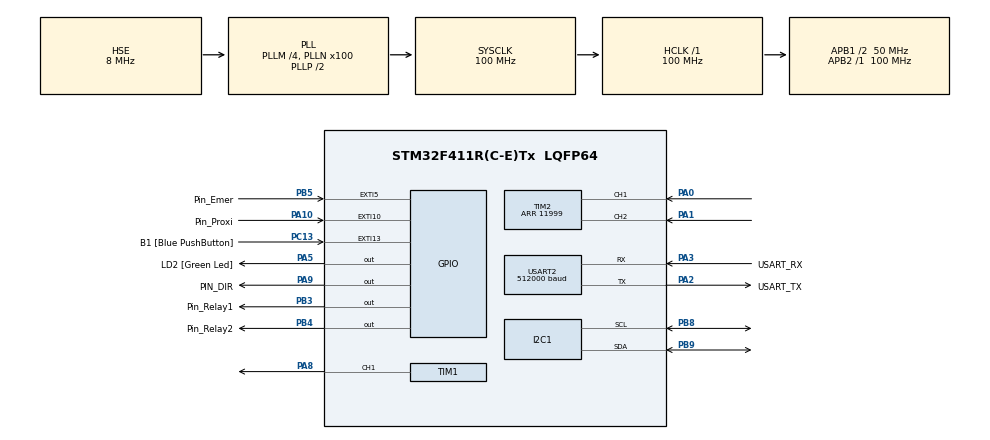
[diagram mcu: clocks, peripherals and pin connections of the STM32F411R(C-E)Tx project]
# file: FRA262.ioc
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ARM.CMSIS.5.6.0.CMSISJjCORE=true
ARM.CMSIS.5.6.0.CMSISJjDSP=Library
Dma.Request0=USART2_RX
Dma.Request1=USART2_TX
Dma.USART2_RX.0.Direction=DMA_PERIPH_TO_MEMORY
Dma.USART2_RX.0.FIFOMode=DMA_FIFOMODE_DISABLE
Dma.USART2_RX.0.Instance=DMA1_Stream5
Dma.USART2_RX.0.MemDataAlignment=DMA_MDATAALIGN_BYTE
Dma.USART2_RX.0.MemInc=DMA_MINC_ENABLE
Dma.USART2_RX.0.Mode=DMA_NORMAL
Dma.USART2_RX.0.PeriphDataAlignment=DMA_PDATAALIGN_BYTE
Dma.USART2_RX.0.PeriphInc=DMA_PINC_DISABLE
Dma.USART2_RX.0.Priority=DMA_PRIORITY_LOW
Dma.USART2_TX.1.Direction=DMA_MEMORY_TO_PERIPH
Dma.USART2_TX.1.FIFOMode=DMA_FIFOMODE_DISABLE
Dma.USART2_TX.1.Instance=DMA1_Stream6
Dma.USART2_TX.1.MemDataAlignment=DMA_MDATAALIGN_BYTE
Dma.USART2_TX.1.MemInc=DMA_MINC_ENABLE
Dma.USART2_TX.1.Mode=DMA_NORMAL
Dma.USART2_TX.1.PeriphDataAlignment=DMA_PDATAALIGN_BYTE
Dma.USART2_TX.1.PeriphInc=DMA_PINC_DISABLE
Dma.USART2_TX.1.Priority=DMA_PRIORITY_LOW
I2C1.I2C_Mode=I2C_Fast
Mcu.Family=STM32F4
Mcu.Name=STM32F411R(C-E)Tx
Mcu.Package=LQFP64
NVIC.DMA1_Stream5_IRQn=true\:0\:0\:false\:false\:true\:false\:true\:true
NVIC.DMA1_Stream6_IRQn=true\:0\:0\:false\:false\:true\:false\:true\:true
NVIC.EXTI15_10_IRQn=true\:0\:0\:false\:false\:true\:true\:true\:true
NVIC.EXTI9_5_IRQn=true\:0\:0\:false\:false\:true\:true\:true\:true
NVIC.I2C1_ER_IRQn=true\:0\:0\:false\:false\:true\:true\:true\:true
NVIC.I2C1_EV_IRQn=true\:0\:0\:false\:false\:true\:true\:true\:true
NVIC.PriorityGroup=NVIC_PRIORITYGROUP_0
NVIC.TIM1_TRG_COM_TIM11_IRQn=true\:0\:0\:false\:false\:true\:true\:true\:true
NVIC.TIM3_IRQn=true\:0\:0\:false\:false\:true\:true\:true\:true
NVIC.TIM4_IRQn=true\:0\:0\:false\:false\:true\:true\:true\:true
NVIC.USART2_IRQn=true\:0\:0\:false\:false\:true\:true\:true\:true
PA0-WKUP.Signal=S_TIM2_CH1_ETR
PA1.Signal=S_TIM2_CH2
PA10.GPIO_Label=Pin_Proxi
PA10.GPIO_ModeDefaultEXTI=GPIO_MODE_IT_RISING_FALLING
PA10.Signal=GPXTI10
PA13.GPIO_Label=TMS
PA13.Mode=Serial_Wire
PA13.Signal=SYS_JTMS-SWDIO
PA14.GPIO_Label=TCK
PA14.Mode=Serial_Wire
PA14.Signal=SYS_JTCK-SWCLK
PA2.GPIO_Label=USART_TX
PA2.Mode=Asynchronous
PA2.Signal=USART2_TX
PA3.GPIO_Label=USART_RX
PA3.Mode=Asynchronous
PA3.Signal=USART2_RX
PA5.GPIO_Label=LD2 [Green Led]
PA5.Signal=GPIO_Output
PA8.Signal=S_TIM1_CH1
PA9.GPIO_Label=PIN_DIR
PA9.Signal=GPIO_Output
PB3.GPIO_Label=Pin_Relay1
PB3.Signal=GPIO_Output
PB4.GPIO_Label=Pin_Relay2
PB4.Signal=GPIO_Output
PB5.GPIO_Label=Pin_Emer
PB5.GPIO_ModeDefaultEXTI=GPIO_MODE_IT_FALLING
PB5.Signal=GPXTI5
PB8.Mode=I2C
PB8.Signal=I2C1_SCL
PB9.Mode=I2C
PB9.Signal=I2C1_SDA
PC13-ANTI_TAMP.GPIO_Label=B1 [Blue PushButton]
PC13-ANTI_TAMP.GPIO_ModeDefaultEXTI=GPIO_MODE_IT_FALLING
PC13-ANTI_TAMP.Signal=GPXTI13
PC14-OSC32_IN.Signal=RCC_OSC32_IN
PC15-OSC32_OUT.Signal=RCC_OSC32_OUT
PH0\ -\ OSC_IN.Mode=HSE-External-Oscillator
PH0\ -\ OSC_IN.Signal=RCC_OSC_IN
PH1\ -\ OSC_OUT.Mode=HSE-External-Oscillator
PH1\ -\ OSC_OUT.Signal=RCC_OSC_OUT
ProjectManager.HeapSize=0x200
ProjectManager.StackSize=0x400
ProjectManager.TargetToolchain=STM32CubeIDE
RCC.48MHZClocksFreq_Value=50000000
RCC.AHBFreq_Value=100000000
RCC.APB1CLKDivider=RCC_HCLK_DIV2
RCC.APB1Freq_Value=50000000
RCC.APB1TimFreq_Value=100000000
RCC.APB2Freq_Value=100000000
RCC.APB2TimFreq_Value=100000000
RCC.CortexFreq_Value=100000000
RCC.FLatency-AdvancedSettings=FLASH_LATENCY_3
RCC.HCLKFreq_Value=100000000
RCC.HSE_VALUE=8000000
RCC.HSI_VALUE=16000000
RCC.PLLM=4
RCC.PLLN=100
RCC.PLLSourceVirtual=RCC_PLLSOURCE_HSE
RCC.SYSCLKFreq_VALUE=100000000
RCC.SYSCLKSource=RCC_SYSCLKSOURCE_PLLCLK
RCC.VCOOutputFreq_Value=200000000
SH.S_TIM1_CH1.0=TIM1_CH1,PWM Generation1 CH1
SH.S_TIM2_CH1_ETR.0=TIM2_CH1,Encoder_Interface
SH.S_TIM2_CH2.0=TIM2_CH2,Encoder_Interface
TIM1.Channel-PWM\ Generation1\ CH1=TIM_CHANNEL_1
TIM1.OCFastMode_PWM-PWM\ Generation1\ CH1=TIM_OCFAST_ENABLE
TIM1.Period=9999
TIM1.Prescaler=0
TIM11.Prescaler=99
TIM2.EncoderMode=TIM_ENCODERMODE_TI12
TIM2.IC1Polarity=TIM_ICPOLARITY_RISING
TIM2.IC2Polarity=TIM_ICPOLARITY_RISING
TIM2.Period=11999
TIM3.Period=9999
TIM3.Prescaler=9
TIM4.Period=9999
TIM4.Prescaler=9
USART2.BaudRate=512000
USART2.OverSampling=UART_OVERSAMPLING_16
USART2.Parity=PARITY_EVEN
USART2.VirtualMode=VM_ASYNC
USART2.WordLength=WORDLENGTH_9B
VP_ARM.CMSIS_VS_CMSISJjCORE_5.3.0_5.6.0.Mode=CMSISJjCORE
VP_ARM.CMSIS_VS_CMSISJjDSP_1.7.0_5.6.0.Mode=CMSISJjDSP
VP_TIM11_VS_ClockSourceINT.Mode=Enable_Timer
VP_TIM3_VS_ClockSourceINT.Mode=Internal
VP_TIM4_VS_ClockSourceINT.Mode=Internal
board=NUCLEO-F411RE

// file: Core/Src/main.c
/* USER CODE BEGIN Header */
/**
  ******************************************************************************
  * @file           : main.c
  * @brief          : Main program body
  ******************************************************************************
  * @attention
  *
  * Copyright (c) 2022 STMicroelectronics.
  * All rights reserved.
  *
  * This software is licensed under terms that can be found in the LICENSE file
  * in the root directory of this software component.
  * If no LICENSE file comes with this software, it is provided AS-IS.
  *
  ******************************************************************************
  */
/* USER CODE END Header */
#include "main.h"

/* USER CODE BEGIN Includes */
#include <stdio.h>
#include <string.h>
#include <math.h>
#include "arm_math.h"

#include "biquad.h"
#include "PID.h"
#include "Kalman.h"
#include "PIDVelocity.h"
#include "Trajectory.h"
#include "uartRingBufDMA.h"
/* USER CODE END Includes */

/* USER CODE BEGIN PD */
// ---------------------------------UART--------------------------------- //
#define UART huart2
#define DMA hdma_usart2_rx
#define RxBuf_SIZE 20
#define TxBuf_SIZE 20
#define MainBuf_SIZE 40
// ---------------------------------UART--------------------------------- //
// ---------------------------------I2C---------------------------------- //
#define Endeff_ADDR 0x23<<1
#define Endeff_TEST 0x45
#define EndEffRxBuf_SIZE 1
#define EndEffTxBuf_SIZE 1
#define I2CRxDataLen 1
#define I2CTxDataLen 1
// ---------------------------------I2C---------------------------------- //
// ---------------------------------Kalman------------------------------- //
#define dt  0.001f
#define Kalmanvar  250000.0f
#define Pvar  1000.0f
// ---------------------------------Kalman------------------------------- //
// ---------------------------------PID---------------------------------- //
#define PID_KP  10.0f
#define PID_KI  0.0000001f
#define PID_KD  0.000596100527203305f
#define PIDVELO_KP  4.0f
#define PIDVELO_KI  0.686615384200884f
#define PIDVELO_KD  0.0f
#define PID_LIM_MIN_INT -10000.0f
#define PID_LIM_MAX_INT  10000.0f
/* PWM MAX parameters */
#define PWM_MAX 10000
// ---------------------------------PID---------------------------------- //
/* USER CODE END PD */

 I2C_HandleTypeDef hi2c1;

TIM_HandleTypeDef htim1;
TIM_HandleTypeDef htim2;
TIM_HandleTypeDef htim3;
TIM_HandleTypeDef htim4;
TIM_HandleTypeDef htim11;

UART_HandleTypeDef huart2;
DMA_HandleTypeDef hdma_usart2_rx;
DMA_HandleTypeDef hdma_usart2_tx;

/* USER CODE BEGIN PV */
// ---------------------------------MainRobot---------------------------------- //
RobotManagement Robot;
uint8_t homeFF = 0;
static float homePoint[2] = {0};
// normOperation(MCCon) = MotorOn, EndEff On
// emergency = MotorOff, EndEff Off
// MCDisCon = MotorOff, EndEff Off
enum{AwaitSethome,MCDisCon ,normOperation} UARTState = AwaitSethome;
// idle = MotorOn, EndEff On(Do nothing)
// EndEff = MotorOn(PWM=0), EndEff On(Send Something and Shoot Laser)(LED On)
enum{init, FindHome , NormM, EndEff, emergency} RobotState = init;
// EndEff State
enum{idle,CheckBeforRun,OpenLaser,SetupReadStatus,ReadStatus} EndEffState = CheckBeforRun;
enum{Opening,Closing,Working,AwaitCommand} EndEffStatus = AwaitCommand;
// ---------------------------------MainRobot---------------------------------- //
// ---------------------------------UART--------------------------------- //
static uint8_t RxBuf[RxBuf_SIZE];
static uint8_t MainBuf[MainBuf_SIZE];
static uint8_t TxBuf[TxBuf_SIZE];
static uint8_t FlagAckFromUART = 0;
static uint8_t stateSwitch = 0;
static uint16_t oldPos = 0;
static uint16_t newPos = 0;
uint16_t Head, Tail;
uint16_t dataSize =0;
/* Timeout is in milliseconds */
int32_t TIMEOUT = 0;
uint8_t ACK_1[2] = { 0x58, 0b01110101 };
uint8_t ACK_2[2] = { 70, 0b01101110 };
// Data Buffer
 uint8_t sendData[8] = {0};
 //for sending data to base sys
 uint16_t posData = 0;
 uint16_t veloData = 0;
 uint16_t uartVelo = 0;
 uint16_t uartPos = 0;
 uint8_t uartGoal[15];
 uint8_t goalAmount = 0;
 int8_t goalIDX = 0;
 uint8_t goalFlag = 0; // 1 = Angular Pos, 2 = Single Goal, Multi Goal

 uint16_t goalDeg[10] = {30, 60, 90, 120, 150, 180, 210, 240, 270, 300};

 uint8_t reachedGoalFlag = 0;
 uint8_t endEffFlag = 0;
 uint8_t homingFlag = 0;
 uint8_t doingTaskFlag = 0;
 uint8_t goingToGoalFlag = 0;
 uint8_t openLaserWriteFlag = 0;

 uint8_t modeNo = 0;
 uint8_t modeByte = 0;
 uint64_t timeElapsed = 0;
 // ---------------------------------UART--------------------------------- //
 // ---------------------------------CTRL--------------------------------- //
/* Setup Microsec */
 uint64_t endEffLoopTime = 0;
 uint64_t ControlLoopTime = 0;
 uint64_t _micro = 0;
/* Setup EncoderData */
int EncoderRawData[2] = {0};
int WrappingStep = 0;
int PositionRaw = 0;
float32_t PositionDeg[2] = {0};
float32_t VelocityDeg = 0;
float invTFOutput = 0;
/* Initialise Kalman Filter */
KalmanFilterVar KalmanVar = {
		{1.0,dt,0.5*dt*dt,0.0,1.0,dt,0.0,0.0,1.0}, // A
		{0.0,0.0,0.0}, // B
		{1.0,0.0,0.0}, // C
		{0.0}, // D
//		{80000.0}, //Q
//		{0.0001},
//		{((dt*dt*dt))/6.0,((dt*dt))/2.0,dt}, //G
		{dt*dt*dt*dt*Kalmanvar/4,dt*dt*dt*Kalmanvar/2,dt*dt*Kalmanvar/2,dt*dt*dt*Kalmanvar/2,dt*dt*Kalmanvar,dt*Kalmanvar,dt*dt*Kalmanvar/2,dt*Kalmanvar,Kalmanvar},
		{0.0001}, // Time delay = 0.1s - 0.2s
		{0,0,((dt*dt*dt))/6,0,0,((dt*dt))/2,0,0,dt},//G
//		{8000000.0}, //Q
//		{0.001}, //R
//		{3000.0}, //Q
//		{0.01}, //R
//		{((dt*dt))/2.0,dt,1}, //G
		{0.0,0.0,0.0}, // STATE X
		{0.0,0.0,0.0}, // STATE X-1
//		{0,0,0,0,0,0,0,0,0}, // STATE P
//		{0,0,0,0,0,0,0,0,0}, // STATE P-1
		{Pvar,0.0,0.0,0.0,Pvar,0.0,0.0,0.0,Pvar}, // STATE P
		{Pvar,0.0,0.0,0.0,Pvar,0.0,0.0,0.0,Pvar}, // STATE P-1
		{0.0}, // Y
		{0.0}, // Z
		{0.0}, // S
		{0.0,0.0,0.0}, // K
		{1.0,0.0,0.0,0.0,1.0,0.0,0.0,0.0,1.0}, // I
		{0.0,0.0,0.0,0.0,0.0,0.0,0.0,0.0,0.0},	// Matrix At
		{0.0,0.0,0.0},	// Matrix Gt
		{0.0,0.0,0.0},	// Matrix GQ
		{0.0,0.0,0.0},	// Matrix Ct
		{0.0},	// Matrix Sinv
		{0.0,0.0,0.0,0.0,0.0,0.0,0.0,0.0,0.0},	// Matrix GQGt
		{0.0,0.0,0.0},	// Matrix CPk
		{0.0,0.0,0.0,0.0,0.0,0.0,0.0,0.0,0.0},	// Matrix APK
		{0.0,0.0,0.0,0.0,0.0,0.0,0.0,0.0,0.0},	// Matrix APKAt
		{0.0},	// Matrix CXk
		{0.0},	// Matrix CPkCt
		{0.0,0.0,0.0},	// Matrix PkCt
		{0.0,0.0,0.0},	// Matrix KYk
		{0.0,0.0,0.0,0.0,0.0,0.0,0.0,0.0,0.0},	// Matrix KC
		{0.0,0.0,0.0,0.0,0.0,0.0,0.0,0.0,0.0} 	// Matrix IKC
};
/* Initialise PID controller */
PIDVelocityController PidVelo = {PIDVELO_KP,PIDVELO_KI,PIDVELO_KD,
								PID_LIM_MIN_INT,PID_LIM_MAX_INT};
PIDVelocityController PidPos = {PID_KP, PID_KI, PID_KD,
								PID_LIM_MIN_INT,PID_LIM_MAX_INT};
/* Simulate response using test system */
float setpoint = 0.0f;
float PWMCHECKER = 0.0f;
float PositionErrorControl = 0.3f;
/* Trajectory */
TrajectoryG traject;
static uint64_t StartTime =0;
static uint64_t CurrentTime =0;
static uint64_t CheckLoopStartTime =0;
static uint64_t CheckLoopStopTime =0;
static uint64_t CheckLoopDiffTime =0;
// ---------------------------------CTRL--------------------------------- //
// ---------------------------------I2C---------------------------------- //
static uint8_t btncheck = 0;
uint8_t I2CEndEffectorReadFlag = 0;
uint8_t I2CEndEffectorWriteFlag = 0;
static uint8_t I2CRxDataBuffer[EndEffRxBuf_SIZE] ={0};
static uint8_t I2CTxDataBuffer[EndEffTxBuf_SIZE] ={0};
// ---------------------------------I2C---------------------------------- //
/* USER CODE END PV */

void SystemClock_Config(void);
static void MX_GPIO_Init(void);
static void MX_USART2_UART_Init(void);
static void MX_DMA_Init(void);
static void MX_I2C1_Init(void);
static void MX_TIM1_Init(void);
static void MX_TIM11_Init(void);
static void MX_TIM2_Init(void);
static void MX_TIM3_Init(void);
static void MX_TIM4_Init(void);
/* USER CODE BEGIN PFP */
uint64_t Micros();
uint32_t Int32Abs(int32_t PWM);
void Drivemotor(int32_t PWM);
void EncoderRead();
void ControllLoopAndErrorHandler();
void I2CWriteFcn(uint8_t *Wdata);
void I2CReadFcn(uint8_t *Rdata);
void RobotRunToPositon(float Destination);
void TIM_ResetCounter(TIM_TypeDef* TIMx);
void EndeffLaserOpen();
void EndeffLaserReadStatus();
void UARTstateManagement(uint8_t *Mainbuffer);
void RobotstateManagement();
void EndEffstateManagement();
float InverseTFofMotor(float Velo);
/* USER CODE END PFP */

int main(void)
{

  /* MCU Configuration--------------------------------------------------------*/

  /* Reset of all peripherals, Initializes the Flash interface and the Systick. */
  HAL_Init();

  /* Configure the system clock */
  SystemClock_Config();

  /* Initialize all configured peripherals */
  MX_GPIO_Init();
  MX_DMA_Init();
  MX_USART2_UART_Init();
  MX_I2C1_Init();
  MX_TIM1_Init();
  MX_TIM11_Init();
  MX_TIM2_Init();
  MX_TIM3_Init();
  MX_TIM4_Init();
  /* USER CODE BEGIN 2 */
  //----UART-----//
  Ringbuf_Init();
  //  HAL_UART_Receive_DMA(&huart2, RxDataBuffer, 32);
  //----UART-----//
  KalmanMatrixInit(&KalmanVar);
  //////////////////////////
  HAL_TIM_PWM_Start(&htim1, TIM_CHANNEL_1);
  HAL_TIM_Base_Start_IT (&htim11);
  HAL_TIM_Encoder_Start(&htim2, TIM_CHANNEL_ALL);
  EncoderRawData[0]=TIM2->CNT;
  EncoderRawData[1]=EncoderRawData[0];
  PositionRaw=EncoderRawData[0];
  PIDVelocityController_Init(&PidVelo);
  PIDVelocityController_Init(&PidPos);

//  UARTState = normOperation;
//  RobotState = NormM;
  /* USER CODE END 2 */

  /* Infinite loop */
  /* USER CODE BEGIN WHILE */
  while (1)
  {
	  RobotstateManagement();
	  EndEffstateManagement();
	  if(Micros() - ControlLoopTime >= 1000)
	  {
		ControlLoopTime  = Micros();
		CheckLoopStartTime = Micros();
		EncoderRead();
		KalmanFilterFunction(&KalmanVar,PositionDeg[0]);
//		KalmanFilterFunction(&KalmanVar,VelocityDeg);
		Robot.Position = PositionDeg[0];
		Robot.Velocity = KalmanVar.MatState_Data[1];
		ControllLoopAndErrorHandler();
		CheckLoopStopTime = Micros();
		CheckLoopStopTime = Micros();
		CheckLoopDiffTime = CheckLoopStopTime - CheckLoopStartTime;
	  }
    /* USER CODE END WHILE */

  }
}

void SystemClock_Config(void)
{
  RCC_OscInitTypeDef RCC_OscInitStruct = {0};
  RCC_ClkInitTypeDef RCC_ClkInitStruct = {0};

  /** Configure the main internal regulator output voltage
  */
  __HAL_RCC_PWR_CLK_ENABLE();
  __HAL_PWR_VOLTAGESCALING_CONFIG(PWR_REGULATOR_VOLTAGE_SCALE1);

  /** Initializes the RCC Oscillators according to the specified parameters
  * in the RCC_OscInitTypeDef structure.
  */
  RCC_OscInitStruct.OscillatorType = RCC_OSCILLATORTYPE_HSE;
  RCC_OscInitStruct.HSEState = RCC_HSE_ON;
  RCC_OscInitStruct.PLL.PLLState = RCC_PLL_ON;
  RCC_OscInitStruct.PLL.PLLSource = RCC_PLLSOURCE_HSE;
  RCC_OscInitStruct.PLL.PLLM = 4;
  RCC_OscInitStruct.PLL.PLLN = 100;
  RCC_OscInitStruct.PLL.PLLP = RCC_PLLP_DIV2;
  RCC_OscInitStruct.PLL.PLLQ = 4;
  if (HAL_RCC_OscConfig(&RCC_OscInitStruct) != HAL_OK)
  {
    Error_Handler();
  }

  /** Initializes the CPU, AHB and APB buses clocks
  */
  RCC_ClkInitStruct.ClockType = RCC_CLOCKTYPE_HCLK|RCC_CLOCKTYPE_SYSCLK
                              |RCC_CLOCKTYPE_PCLK1|RCC_CLOCKTYPE_PCLK2;
  RCC_ClkInitStruct.SYSCLKSource = RCC_SYSCLKSOURCE_PLLCLK;
  RCC_ClkInitStruct.AHBCLKDivider = RCC_SYSCLK_DIV1;
  RCC_ClkInitStruct.APB1CLKDivider = RCC_HCLK_DIV2;
  RCC_ClkInitStruct.APB2CLKDivider = RCC_HCLK_DIV1;

  if (HAL_RCC_ClockConfig(&RCC_ClkInitStruct, FLASH_LATENCY_3) != HAL_OK)
  {
    Error_Handler();
  }
}

static void MX_I2C1_Init(void)
{

  hi2c1.Instance = I2C1;
  hi2c1.Init.ClockSpeed = 400000;
  hi2c1.Init.DutyCycle = I2C_DUTYCYCLE_2;
  hi2c1.Init.OwnAddress1 = 0;
  hi2c1.Init.AddressingMode = I2C_ADDRESSINGMODE_7BIT;
  hi2c1.Init.DualAddressMode = I2C_DUALADDRESS_DISABLE;
  hi2c1.Init.OwnAddress2 = 0;
  hi2c1.Init.GeneralCallMode = I2C_GENERALCALL_DISABLE;
  hi2c1.Init.NoStretchMode = I2C_NOSTRETCH_DISABLE;
  if (HAL_I2C_Init(&hi2c1) != HAL_OK)
  {
    Error_Handler();
  }

}

static void MX_TIM1_Init(void)
{

  TIM_MasterConfigTypeDef sMasterConfig = {0};
  TIM_OC_InitTypeDef sConfigOC = {0};
  TIM_BreakDeadTimeConfigTypeDef sBreakDeadTimeConfig = {0};

  htim1.Instance = TIM1;
  htim1.Init.Prescaler = 0;
  htim1.Init.CounterMode = TIM_COUNTERMODE_UP;
  htim1.Init.Period = 9999;
  htim1.Init.ClockDivision = TIM_CLOCKDIVISION_DIV1;
  htim1.Init.RepetitionCounter = 0;
  htim1.Init.AutoReloadPreload = TIM_AUTORELOAD_PRELOAD_DISABLE;
  if (HAL_TIM_PWM_Init(&htim1) != HAL_OK)
  {
    Error_Handler();
  }
  sMasterConfig.MasterOutputTrigger = TIM_TRGO_RESET;
  sMasterConfig.MasterSlaveMode = TIM_MASTERSLAVEMODE_DISABLE;
  if (HAL_TIMEx_MasterConfigSynchronization(&htim1, &sMasterConfig) != HAL_OK)
  {
    Error_Handler();
  }
  sConfigOC.OCMode = TIM_OCMODE_PWM1;
  sConfigOC.Pulse = 0;
  sConfigOC.OCPolarity = TIM_OCPOLARITY_HIGH;
  sConfigOC.OCNPolarity = TIM_OCNPOLARITY_HIGH;
  sConfigOC.OCFastMode = TIM_OCFAST_ENABLE;
  sConfigOC.OCIdleState = TIM_OCIDLESTATE_RESET;
  sConfigOC.OCNIdleState = TIM_OCNIDLESTATE_RESET;
  if (HAL_TIM_PWM_ConfigChannel(&htim1, &sConfigOC, TIM_CHANNEL_1) != HAL_OK)
  {
    Error_Handler();
  }
  sBreakDeadTimeConfig.OffStateRunMode = TIM_OSSR_DISABLE;
  sBreakDeadTimeConfig.OffStateIDLEMode = TIM_OSSI_DISABLE;
  sBreakDeadTimeConfig.LockLevel = TIM_LOCKLEVEL_OFF;
  sBreakDeadTimeConfig.DeadTime = 0;
  sBreakDeadTimeConfig.BreakState = TIM_BREAK_DISABLE;
  sBreakDeadTimeConfig.BreakPolarity = TIM_BREAKPOLARITY_HIGH;
  sBreakDeadTimeConfig.AutomaticOutput = TIM_AUTOMATICOUTPUT_DISABLE;
  if (HAL_TIMEx_ConfigBreakDeadTime(&htim1, &sBreakDeadTimeConfig) != HAL_OK)
  {
    Error_Handler();
  }
  HAL_TIM_MspPostInit(&htim1);

}

static void MX_TIM2_Init(void)
{

  TIM_Encoder_InitTypeDef sConfig = {0};
  TIM_MasterConfigTypeDef sMasterConfig = {0};

  htim2.Instance = TIM2;
  htim2.Init.Prescaler = 0;
  htim2.Init.CounterMode = TIM_COUNTERMODE_UP;
  htim2.Init.Period = 11999;
  htim2.Init.ClockDivision = TIM_CLOCKDIVISION_DIV1;
  htim2.Init.AutoReloadPreload = TIM_AUTORELOAD_PRELOAD_DISABLE;
  sConfig.EncoderMode = TIM_ENCODERMODE_TI12;
  sConfig.IC1Polarity = TIM_ICPOLARITY_RISING;
  sConfig.IC1Selection = TIM_ICSELECTION_DIRECTTI;
  sConfig.IC1Prescaler = TIM_ICPSC_DIV1;
  sConfig.IC1Filter = 0;
  sConfig.IC2Polarity = TIM_ICPOLARITY_RISING;
  sConfig.IC2Selection = TIM_ICSELECTION_DIRECTTI;
  sConfig.IC2Prescaler = TIM_ICPSC_DIV1;
  sConfig.IC2Filter = 0;
  if (HAL_TIM_Encoder_Init(&htim2, &sConfig) != HAL_OK)
  {
    Error_Handler();
  }
  sMasterConfig.MasterOutputTrigger = TIM_TRGO_RESET;
  sMasterConfig.MasterSlaveMode = TIM_MASTERSLAVEMODE_DISABLE;
  if (HAL_TIMEx_MasterConfigSynchronization(&htim2, &sMasterConfig) != HAL_OK)
  {
    Error_Handler();
  }

}

static void MX_TIM3_Init(void)
{

  TIM_ClockConfigTypeDef sClockSourceConfig = {0};
  TIM_MasterConfigTypeDef sMasterConfig = {0};

  htim3.Instance = TIM3;
  htim3.Init.Prescaler = 9;
  htim3.Init.CounterMode = TIM_COUNTERMODE_UP;
  htim3.Init.Period = 9999;
  htim3.Init.ClockDivision = TIM_CLOCKDIVISION_DIV1;
  htim3.Init.AutoReloadPreload = TIM_AUTORELOAD_PRELOAD_DISABLE;
  if (HAL_TIM_Base_Init(&htim3) != HAL_OK)
  {
    Error_Handler();
  }
  sClockSourceConfig.ClockSource = TIM_CLOCKSOURCE_INTERNAL;
  if (HAL_TIM_ConfigClockSource(&htim3, &sClockSourceConfig) != HAL_OK)
  {
    Error_Handler();
  }
  sMasterConfig.MasterOutputTrigger = TIM_TRGO_RESET;
  sMasterConfig.MasterSlaveMode = TIM_MASTERSLAVEMODE_DISABLE;
  if (HAL_TIMEx_MasterConfigSynchronization(&htim3, &sMasterConfig) != HAL_OK)
  {
    Error_Handler();
  }

}

static void MX_TIM4_Init(void)
{

  TIM_ClockConfigTypeDef sClockSourceConfig = {0};
  TIM_MasterConfigTypeDef sMasterConfig = {0};

  htim4.Instance = TIM4;
  htim4.Init.Prescaler = 9;
  htim4.Init.CounterMode = TIM_COUNTERMODE_UP;
  htim4.Init.Period = 9999;
  htim4.Init.ClockDivision = TIM_CLOCKDIVISION_DIV1;
  htim4.Init.AutoReloadPreload = TIM_AUTORELOAD_PRELOAD_DISABLE;
  if (HAL_TIM_Base_Init(&htim4) != HAL_OK)
  {
    Error_Handler();
  }
  sClockSourceConfig.ClockSource = TIM_CLOCKSOURCE_INTERNAL;
  if (HAL_TIM_ConfigClockSource(&htim4, &sClockSourceConfig) != HAL_OK)
  {
    Error_Handler();
  }
  sMasterConfig.MasterOutputTrigger = TIM_TRGO_RESET;
  sMasterConfig.MasterSlaveMode = TIM_MASTERSLAVEMODE_DISABLE;
  if (HAL_TIMEx_MasterConfigSynchronization(&htim4, &sMasterConfig) != HAL_OK)
  {
    Error_Handler();
  }

}

static void MX_TIM11_Init(void)
{

  htim11.Instance = TIM11;
  htim11.Init.Prescaler = 99;
  htim11.Init.CounterMode = TIM_COUNTERMODE_UP;
  htim11.Init.Period = 65535;
  htim11.Init.ClockDivision = TIM_CLOCKDIVISION_DIV1;
  htim11.Init.AutoReloadPreload = TIM_AUTORELOAD_PRELOAD_DISABLE;
  if (HAL_TIM_Base_Init(&htim11) != HAL_OK)
  {
    Error_Handler();
  }

}

static void MX_USART2_UART_Init(void)
{

  huart2.Instance = USART2;
  huart2.Init.BaudRate = 512000;
  huart2.Init.WordLength = UART_WORDLENGTH_9B;
  huart2.Init.StopBits = UART_STOPBITS_1;
  huart2.Init.Parity = UART_PARITY_EVEN;
  huart2.Init.Mode = UART_MODE_TX_RX;
  huart2.Init.HwFlowCtl = UART_HWCONTROL_NONE;
  huart2.Init.OverSampling = UART_OVERSAMPLING_16;
  if (HAL_UART_Init(&huart2) != HAL_OK)
  {
    Error_Handler();
  }

}

static void MX_DMA_Init(void)
{

  /* DMA controller clock enable */
  __HAL_RCC_DMA1_CLK_ENABLE();

  /* DMA interrupt init */
  /* DMA1_Stream5_IRQn interrupt configuration */
  HAL_NVIC_SetPriority(DMA1_Stream5_IRQn, 0, 0);
  HAL_NVIC_EnableIRQ(DMA1_Stream5_IRQn);
  /* DMA1_Stream6_IRQn interrupt configuration */
  HAL_NVIC_SetPriority(DMA1_Stream6_IRQn, 0, 0);
  HAL_NVIC_EnableIRQ(DMA1_Stream6_IRQn);

}

static void MX_GPIO_Init(void)
{
  GPIO_InitTypeDef GPIO_InitStruct = {0};

  /* GPIO Ports Clock Enable */
  __HAL_RCC_GPIOC_CLK_ENABLE();
  __HAL_RCC_GPIOH_CLK_ENABLE();
  __HAL_RCC_GPIOA_CLK_ENABLE();
  __HAL_RCC_GPIOB_CLK_ENABLE();

  /*Configure GPIO pin Output Level */
  HAL_GPIO_WritePin(GPIOA, LD2_Pin|PIN_DIR_Pin, GPIO_PIN_RESET);

  /*Configure GPIO pin Output Level */
  HAL_GPIO_WritePin(GPIOB, Pin_Relay1_Pin|Pin_Relay2_Pin, GPIO_PIN_RESET);

  /*Configure GPIO pin : B1_Pin */
  GPIO_InitStruct.Pin = B1_Pin;
  GPIO_InitStruct.Mode = GPIO_MODE_IT_FALLING;
  GPIO_InitStruct.Pull = GPIO_NOPULL;
  HAL_GPIO_Init(B1_GPIO_Port, &GPIO_InitStruct);

  /*Configure GPIO pins : LD2_Pin PIN_DIR_Pin */
  GPIO_InitStruct.Pin = LD2_Pin|PIN_DIR_Pin;
  GPIO_InitStruct.Mode = GPIO_MODE_OUTPUT_PP;
  GPIO_InitStruct.Pull = GPIO_NOPULL;
  GPIO_InitStruct.Speed = GPIO_SPEED_FREQ_LOW;
  HAL_GPIO_Init(GPIOA, &GPIO_InitStruct);

  /*Configure GPIO pin : Pin_Proxi_Pin */
  GPIO_InitStruct.Pin = Pin_Proxi_Pin;
  GPIO_InitStruct.Mode = GPIO_MODE_IT_RISING_FALLING;
  GPIO_InitStruct.Pull = GPIO_NOPULL;
  HAL_GPIO_Init(Pin_Proxi_GPIO_Port, &GPIO_InitStruct);

  /*Configure GPIO pins : Pin_Relay1_Pin Pin_Relay2_Pin */
  GPIO_InitStruct.Pin = Pin_Relay1_Pin|Pin_Relay2_Pin;
  GPIO_InitStruct.Mode = GPIO_MODE_OUTPUT_PP;
  GPIO_InitStruct.Pull = GPIO_NOPULL;
  GPIO_InitStruct.Speed = GPIO_SPEED_FREQ_LOW;
  HAL_GPIO_Init(GPIOB, &GPIO_InitStruct);

  /*Configure GPIO pin : Pin_Emer_Pin */
  GPIO_InitStruct.Pin = Pin_Emer_Pin;
  GPIO_InitStruct.Mode = GPIO_MODE_IT_FALLING;
  GPIO_InitStruct.Pull = GPIO_NOPULL;
  HAL_GPIO_Init(Pin_Emer_GPIO_Port, &GPIO_InitStruct);

  /* EXTI interrupt init*/
  HAL_NVIC_SetPriority(EXTI9_5_IRQn, 0, 0);
  HAL_NVIC_EnableIRQ(EXTI9_5_IRQn);

  HAL_NVIC_SetPriority(EXTI15_10_IRQn, 0, 0);
  HAL_NVIC_EnableIRQ(EXTI15_10_IRQn);

}

/* USER CODE BEGIN 4 */
void EncoderRead()
{
	static int32_t SignalThreshold = 0.6*12000;
	EncoderRawData[0] = TIM2->CNT;
	if(EncoderRawData[0]-EncoderRawData[1]<-SignalThreshold){
		WrappingStep+=12000;
	}
	else if(EncoderRawData[0]-EncoderRawData[1]>=SignalThreshold){
		WrappingStep-=12000;
	}
	PositionRaw = EncoderRawData[0] + WrappingStep;
	PositionDeg[0] = (PositionRaw/12000.0)*360.0;
	VelocityDeg = ((PositionDeg[0] - PositionDeg[1])/dt);
	EncoderRawData[1] = EncoderRawData[0];
	PositionDeg[1] = PositionDeg[0];
}

uint32_t Int32Abs(int32_t PWM)
{
	if(PWM<0){
		return PWM*-1;
	}else{
		return PWM;
	}
}

void Drivemotor(int32_t PWM){
		if(PWM<=0 && PWM>=-PWM_MAX){
			htim1.Instance->CCR1=Int32Abs(PWM);
			HAL_GPIO_WritePin(GPIOA, GPIO_PIN_9,0);
		}else if (PWM<-PWM_MAX){
			htim1.Instance->CCR1=PWM_MAX;
			HAL_GPIO_WritePin(GPIOA, GPIO_PIN_9,0);
		}else if(PWM>=0 && PWM<=PWM_MAX){
			htim1.Instance->CCR1=Int32Abs(PWM);
			HAL_GPIO_WritePin(GPIOA, GPIO_PIN_9,1);
		}else if(PWM>PWM_MAX){
			htim1.Instance->CCR1=PWM_MAX;
			HAL_GPIO_WritePin(GPIOA, GPIO_PIN_9,1);
		}
}

void ControllLoopAndErrorHandler()
{
//	setpoint = 40.0;
//	PIDVelocityController_Update(&PidVelo, setpoint, KalmanVar.MatState_Data[1]);
//	PWMCHECKER = PidVelo.ControllerOut;
//	Drivemotor(PWMCHECKER);
	if(Robot.MotorIsOn == 1)
	{
		if (Robot.flagStartTime == 1)
		{
			StartTime = Micros();
			Robot.flagStartTime = 0;
		}
		CurrentTime = Micros();
		TrajectoryEvaluation(&traject,StartTime,CurrentTime);
		Robot.QX = traject.QX;
		Robot.QV = traject.QV;
		if(AbsVal(Robot.GoalPositon - Robot.Position) < 0.5 && AbsVal(Robot.Velocity) < 1.0)
		{
			PWMCHECKER = 0.0;
			Drivemotor(PWMCHECKER);
			Robot.RunningFlag = 0;
		}
		else
		{
			PIDVelocityController_Update(&PidPos, Robot.QX , Robot.Position);
			PIDVelocityController_Update(&PidVelo, Robot.QV + PidPos.ControllerOut  , Robot.Velocity);
			PWMCHECKER = PidVelo.ControllerOut;
			Drivemotor(PWMCHECKER);
		}
	}
	else
	{
		PWMCHECKER = 0.0;
		Drivemotor(PWMCHECKER);
	}
}

float InverseTFofMotor(float Velo)
{
	static float Voltage = 0;
	static float Pwm = 0;
}

void HAL_TIM_PeriodElapsedCallback(TIM_HandleTypeDef *htim) {
	if (htim == &htim11) {
		_micro += 65535;
	}
}

uint64_t Micros(){
	return _micro + TIM11->CNT;
}

/* Initialize the Ring Buffer */
void Ringbuf_Init (void)
{
	memset(RxBuf, '\0', RxBuf_SIZE);
	memset(MainBuf, '\0', MainBuf_SIZE);

	Head = Tail = 0;
	oldPos = 0;
	newPos = 0;

  HAL_UARTEx_ReceiveToIdle_DMA(&UART, RxBuf, RxBuf_SIZE);
  __HAL_DMA_DISABLE_IT(&DMA, DMA_IT_HT);
}

/* Resets the Ring buffer */
void Ringbuf_Reset (void)
{
	memset(MainBuf,'\0', MainBuf_SIZE);
	memset(RxBuf, '\0', RxBuf_SIZE);
	Tail = 0;
	Head = 0;
	oldPos = 0;
	newPos = 0;
}

void checkSum (uint8_t *buffertoCheckSum, uint16_t Size)
{
	uint8_t sum = 0;
	modeByte = 0;
	switch(Size){
	case 1:
	case 3:
		break;
	case 2:
		if(!(checkAck(buffertoCheckSum, Size))) modeByte = sum = buffertoCheckSum[oldPos];
		break;
	case 4:
		if(checkAck(buffertoCheckSum, Size)) modeByte = sum = buffertoCheckSum[oldPos+2 % MainBuf_SIZE];
		else{
			sum = buffertoCheckSum[oldPos] + buffertoCheckSum[oldPos+1 % MainBuf_SIZE] + buffertoCheckSum[oldPos+2 % MainBuf_SIZE];
			modeByte = buffertoCheckSum[oldPos];
		}
		break;
	default:
		modeByte = buffertoCheckSum[oldPos];
		for (int index = 0; index < Size-1; ++index)
		{
			sum = sum + buffertoCheckSum[oldPos+index % MainBuf_SIZE];
		}
	}

	if((uint8_t)buffertoCheckSum[oldPos+(Size-1) % MainBuf_SIZE] == (uint8_t)(~sum)) UARTstateManagement(MainBuf);
}

uint8_t checkAck (uint8_t *buffertoCheckAck, uint16_t Size)
{
	if((buffertoCheckAck[oldPos] == 0b01011000) && (buffertoCheckAck[oldPos+1 % MainBuf_SIZE] == 0b01110101)) return 1;
	else return 0;
}

void HAL_UARTEx_RxEventCallback(UART_HandleTypeDef *huart, uint16_t Size)
{
        if (huart->Instance == USART2)
        {
                oldPos = newPos;
                dataSize = Size;
                if (oldPos+dataSize > MainBuf_SIZE)
                {
                        oldPos = 0;
                        memcpy ((uint8_t *)MainBuf+oldPos, (uint8_t *)RxBuf, dataSize);
                        newPos = dataSize+oldPos;
                }
                else
                {
                        memcpy ((uint8_t *)MainBuf+oldPos, (uint8_t *)RxBuf, dataSize);
                        newPos = dataSize+oldPos;
                }

                checkSum(MainBuf, Size);
                HAL_UARTEx_ReceiveToIdle_DMA(&UART, (uint8_t *) RxBuf, RxBuf_SIZE);
                __HAL_DMA_DISABLE_IT(&DMA, DMA_IT_HT);
        }
}

//void HAL_UART_TxCpltCallback(UART_HandleTypeDef *huart){
//	if(huart->Instance == USART2){
//		/* start the DMA again */
//		HAL_UARTEx_ReceiveToIdle_DMA(&UART, (uint8_t *) RxBuf, RxBuf_SIZE);
//		__HAL_DMA_DISABLE_IT(&DMA, DMA_IT_HT);
//	}
//}
void UARTstateManagement(uint8_t *Mainbuffer)
{
	uint16_t rxDatalen = newPos - oldPos;
	switch (UARTState)
	{
		case AwaitSethome:
			// AFK Wait for Home calibration
			break;
		case MCDisCon:
			if(Mainbuffer[oldPos] == 0b10010010)
			{
				// Connect MC and Back to normal
				modeNo = 2;
				UARTState = normOperation;
				HAL_UART_Transmit_DMA(&UART, ACK_1, 2);
			}
			break;
		case normOperation:
			stateSwitch = modeByte;
			switch (stateSwitch)
			{
				// Mode 1 Test Command
				case 0b10010001:
					// Do nothing
					modeNo = 1;
					HAL_UART_Transmit_DMA(&UART, ACK_1, 2);
					break;
				// Mode 2 Connect MC
				case 0b10010010:
					// Start and Connect MC
					modeNo = 2;
					UARTState = normOperation;
					HAL_UART_Transmit_DMA(&UART, ACK_1, 2);
					break;
				// Mode 3 Disconnect MC
				case 0b10010011:
					// Disconnect MC
					modeNo = 3;
					UARTState = MCDisCon;
					HAL_UART_Transmit_DMA(&UART, ACK_1, 2);
					break;
				// Mode 4 Set Angular Velocity
				case 0b10010100:
					modeNo = 4;
					uartVelo = ((Mainbuffer[oldPos + 2 % MainBuf_SIZE])/255.0)*10.0;
					HAL_UART_Transmit_DMA(&UART, ACK_1, 2);
					break;
				// Mode 5 Set Angular Position
				case 0b10010101:
					modeNo = 5;
					goalFlag = 1;
					goalAmount = 1;
					uartPos = (uint16_t)((((Mainbuffer[oldPos + 1 % MainBuf_SIZE] << 8) | Mainbuffer[oldPos + 2 % MainBuf_SIZE])*360.0)/62800);
					HAL_UART_Transmit_DMA(&UART, ACK_1, 2);
					break;
				// Mode 6 Single Goal
				case 0b10010110:
					modeNo = 6;
					goalFlag = 2;
					memset(uartGoal, '\0', 15);
					goalAmount = 1;
					uartGoal[0] = Mainbuffer[oldPos + 2 % MainBuf_SIZE];
					HAL_UART_Transmit_DMA(&UART, ACK_1, 2);
					break;
				// Mode 7 Multi Goal
				case 0b10010111:
					modeNo = 7;
					goalFlag = 2;
					memset(uartGoal, '\0', 15);
					goalAmount = Mainbuffer[oldPos + 1 % MainBuf_SIZE];
					for(int i = 0; i < ((goalAmount+1)/2); i++){
						uartGoal[0+(i*2)] = Mainbuffer[oldPos + (2+i) % MainBuf_SIZE] & 15; // low 8 bit (last 4 bit)
						uartGoal[1+(i*2)] = Mainbuffer[oldPos + (2+i) % MainBuf_SIZE] >> 4; // high 8 bit (first 4 bit)
					}
					HAL_UART_Transmit_DMA(&UART, ACK_1, 2);
					break;
				// Mode 8
				case 0b10011000:
					modeNo = 8;
					if(doingTaskFlag == 0){
					goingToGoalFlag = 0;
					Robot.flagStartTime = 1;
					Robot.RunningFlag = 1;
					doingTaskFlag = 1;
					goalIDX = 0;
					}
					HAL_UART_Transmit_DMA(&UART, ACK_1, 2);
					break;
				// Mode 9
				case 0b10011001:
					modeNo = 9;
					FlagAckFromUART = 0;
					Robot.CurrentStation = 0;
					if(doingTaskFlag == 1 || Robot.RunningFlag == 1){
						memcpy(sendData, ACK_1, 2);
						sendData[2] = 153; // start-mode
						sendData[4] = Robot.CurrentStation; // set current goal
						sendData[5] = (uint8_t)(~(sendData[2]+sendData[3]+sendData[4]));
						HAL_UART_Transmit_DMA(&UART, sendData, 6);
					}
					else{
						memcpy(sendData, ACK_2, 2);
						memcpy(sendData+2, ACK_1, 2);
						sendData[4] = 153; // start-mode
						sendData[6] = Robot.CurrentStation; // set currentStation
						sendData[7] = (uint8_t)(~(sendData[4]+sendData[5]+sendData[6]));
						HAL_UART_Transmit_DMA(&UART, sendData, 8);
					}

					break;
				// Mode 10
				case 0b10011010:
					modeNo = 10;
					FlagAckFromUART = 0;
					posData = (uint16_t)(((((Robot.Position)*10000.0)*M_PI)/180.0));
//					static uint16_t pos = 0; // robot.position mini
//					posData = (uint16_t)(((((pos)*10000.0)*M_PI)/180.0));
					if(endEffFlag == 0 && doingTaskFlag == 1){
						if(AbsVal(Robot.GoalPositon - Robot.Position) < 0.5 && AbsVal(Robot.Velocity) < 1.0){
							endEffFlag = 1;
							goingToGoalFlag = 0;
						}
					}
					if(doingTaskFlag == 1 || Robot.RunningFlag == 1){
						memcpy(sendData, ACK_1, 2);
						sendData[2] = 154; // start-mode
						sendData[3] = (posData) >> 8 ; // set high byte posData
						sendData[4] = (posData) & 0xff; // set low byte posData
						sendData[5] = (uint8_t)(~(sendData[2]+sendData[3]+sendData[4]));
						HAL_UART_Transmit_DMA(&UART, sendData, 6);
					}
					else{
						memcpy(sendData, ACK_2, 2);
						memcpy(sendData+2, ACK_1, 2);
						sendData[4] = 154; // start-mode
						if(homingFlag == 1 && Robot.Position <= 0.5){
							sendData[5] = 0; // set high byte posData
							sendData[6] = 0; // set low byte posData
						}
						else{
							sendData[5] = (posData) >> 8 ; // set high byte posData
							sendData[6] = (posData) & 0xff; // set low byte posData
						}
						sendData[7] = (uint8_t)(~(sendData[4]+sendData[5]+sendData[6]));

						HAL_UART_Transmit_DMA(&UART, sendData, 8);
					}
					break;
				// Mode 11
				case 0b10011011:
					modeNo = 11;
					FlagAckFromUART = 0;
					veloData = (uint16_t)((((Robot.Velocity*30.0)/M_PI)/10.0)*255.0);
					if(doingTaskFlag == 1 || Robot.RunningFlag == 1){
						memcpy(sendData, ACK_1, 2);
						sendData[2] = 155;
						sendData[4] = veloData >> 8; // set low byte posData
						sendData[5] = (~(sendData[2]+sendData[3]+sendData[4]));
						HAL_UART_Transmit_DMA(&UART, sendData, 6);
					}
					else{
						memcpy(sendData, ACK_2, 2);
						memcpy(sendData+2, ACK_1, 2);
						sendData[4] = 155; // start-mode
						sendData[6] = (veloData) >> 8; // set low byte posData
						sendData[7] = (uint8_t)(~(sendData[4]+sendData[5]+sendData[6]));
						HAL_UART_Transmit_DMA(&UART, sendData, 8);
					}
					break;
				// Mode 12
				case 0b10011100:
					modeNo = 12;
					RobotState = EndEff;
					I2CEndEffectorWriteFlag = 1;
					I2CEndEffectorReadFlag =  1;
					EndEffState = CheckBeforRun;
					endEffFlag = 1;
					HAL_UART_Transmit_DMA(&UART, ACK_1, 2);
					break;
				// Mode 13
				case 0b10011101:
					modeNo = 13;
					endEffFlag = 0;
					HAL_UART_Transmit_DMA(&UART, ACK_1, 2);
					break;
				// Mode 14
				case 0b10011110:
					modeNo = 14;
					RobotRunToPositon(Robot.HomePositon);
					homingFlag = 1;
					HAL_UART_Transmit_DMA(&UART, ACK_1, 2);
					break;
				}
	}
}

void RobotstateManagement()
{
	switch (RobotState)
	{
		case init:
			// Reset all Parameter
			Robotinit(&Robot);
			Robot.MotorIsOn = 1;
			// Start Finding home Position
			Robot.flagSethome = 1;
			// Turn 360 Deg
			RobotRunToPositon(360.0);
			// Goto next State
			RobotState = FindHome;
			break;
		case FindHome:
			if(Robot.RunningFlag == 0)
			{
				if(Robot.flagSethome == 2)
				{
					RobotRunToPositon(Robot.HomePositon);
					Robot.RunningFlag = 1;
					Robot.flagSethome = 3;
				}
				else if(Robot.flagSethome == 3)
				{
					// Reset Encoder
					TIM_ResetCounter(TIM2);
					EncoderRawData[0] = 0;
					EncoderRawData[1] = 0;
					WrappingStep = 0;
					// Reset Trajectory
					CoefficientAndTimeCalculation(&traject,0.0,0.0);
					Robot.flagStartTime = 1;
					StartTime = 0;
					CurrentTime = 0;
					// Reset Position
					PositionDeg[0] = 0;
					PositionDeg[1] = 0;
					KalmanMatrixReset(&KalmanVar, Pvar);
					Robotinit(&Robot);
					// Reset Pid
					PIDVelocityController_Init(&PidVelo);
					PIDVelocityController_Init(&PidPos);
					// Start Motor
					Robot.MotorIsOn = 1;
					FlagAckFromUART = 1;
					UARTState = normOperation;
					RobotState = NormM;
				}
			}
			break;
		case NormM:
			if(doingTaskFlag == 1 && Robot.RunningFlag == 1 && endEffFlag == 0){
				if(goalFlag == 1 && goingToGoalFlag == 0){
					goingToGoalFlag = 1;
					Robot.GoalPositon = uartPos;
					CoefficientAndTimeCalculation(&traject,Robot.Position,Robot.GoalPositon);
				}
				else if(goalFlag == 2 && goingToGoalFlag == 0){
					goingToGoalFlag = 1;
					Robot.GoalPositon = goalDeg[uartGoal[goalIDX]-1];
					CoefficientAndTimeCalculation(&traject,Robot.Position,Robot.GoalPositon);
				}
			}

			if(goingToGoalFlag == 0 && doingTaskFlag == 1 && Robot.RunningFlag == 0 && endEffFlag == 1){
				RobotState = EndEff;
				I2CEndEffectorWriteFlag = 1;
				I2CEndEffectorReadFlag =  1;
				EndEffState = CheckBeforRun;
			}
			break;
		case EndEff:
			break;
		case emergency:
			break;
	}
}

void I2CWriteFcn(uint8_t *Wdata) {
	if (I2CEndEffectorWriteFlag == 1  && hi2c1.State == HAL_I2C_STATE_READY) {
		static uint8_t data[EndEffRxBuf_SIZE];
		memcpy ((uint8_t *)data, (uint8_t *)Wdata, EndEffRxBuf_SIZE);
		HAL_I2C_Master_Transmit_IT(&hi2c1, Endeff_ADDR, data, I2CTxDataLen);
		I2CEndEffectorWriteFlag = 0;
	}
}
void I2CReadFcn(uint8_t *Rdata) {
	if (I2CEndEffectorReadFlag == 1 && hi2c1.State == HAL_I2C_STATE_READY) {
		HAL_I2C_Master_Receive_IT(&hi2c1, Endeff_ADDR, Rdata, I2CRxDataLen);
		I2CEndEffectorReadFlag =  0;
	}
}

void EndEffstateManagement()
{
	switch (EndEffState)
	{
		case idle:
			// Do not thing wait for command
			EndEffStatus = AwaitCommand;
//			I2CEndEffectorWriteFlag = 1;
			break;
		case CheckBeforRun:
			// Set up Read
			I2CTxDataBuffer[0] = 0x23;
			I2CWriteFcn(I2CTxDataBuffer);
			if(hi2c1.State == HAL_I2C_STATE_READY)
			{
				I2CReadFcn(I2CRxDataBuffer);
				if(hi2c1.State == HAL_I2C_STATE_READY)
				{
					if(I2CRxDataBuffer[0] == 0x78)
					{
						EndEffState = OpenLaser;
						openLaserWriteFlag = 1;
						I2CEndEffectorWriteFlag = 1;
						I2CEndEffectorReadFlag =  0;
					}
					else
					{
						EndEffState = idle;
					}
				}
			}

		break;
		case OpenLaser:
			// Open Laser
			if(openLaserWriteFlag == 1){
				I2CTxDataBuffer[0] = 0x45;
				I2CWriteFcn(I2CTxDataBuffer);
				openLaserWriteFlag = 0;
				endEffLoopTime = Micros();
			}
			if(hi2c1.State == HAL_I2C_STATE_READY && Micros() - endEffLoopTime > 5000)
			{
				EndEffState = SetupReadStatus;
				I2CEndEffectorWriteFlag = 1;
			}
			break;
		case SetupReadStatus:
			// Set up Read
			I2CTxDataBuffer[0] = 0x23;
			I2CWriteFcn(I2CTxDataBuffer);
			if(hi2c1.State == HAL_I2C_STATE_READY)
			{
				EndEffState = ReadStatus;
				I2CEndEffectorReadFlag =  1;
			}
			break;
		case ReadStatus:
			I2CReadFcn(I2CRxDataBuffer);
			if(hi2c1.State == HAL_I2C_STATE_READY)
			{
				I2CEndEffectorReadFlag =  1;
				if(I2CRxDataBuffer[0] == 0x78)
				{
					EndEffState = idle;
					EndEffStatus = AwaitCommand;
					RobotState = NormM;
					endEffFlag = 0;
					if(doingTaskFlag == 1){
						goalIDX++;
						if(goalIDX > goalAmount-1){
							goalIDX = 0;
							goalFlag = 0;
							doingTaskFlag = 0;
						}
						else{
							Robot.RunningFlag = 1;
							Robot.flagStartTime = 1;
						}
					}
				}
				else if(I2CRxDataBuffer[0] == 0x12)
				{
					EndEffStatus = Opening;
					EndEffState = SetupReadStatus;
					I2CEndEffectorWriteFlag = 1;
				}
				else if(I2CRxDataBuffer[0] == 0x34)
				{
					EndEffStatus = Working;
					EndEffState = SetupReadStatus;
					I2CEndEffectorWriteFlag = 1;
				}
				else if(I2CRxDataBuffer[0] == 0x56)
				{
					EndEffStatus = Closing;
					EndEffState = SetupReadStatus;
					I2CEndEffectorWriteFlag = 1;
				}
			}
			break;
	}
}

void HAL_GPIO_EXTI_Callback(uint16_t GPIO_Pin)
{
	if(GPIO_Pin == GPIO_PIN_13)
	{
		RobotState = EndEff;
		I2CEndEffectorWriteFlag = 1;
		I2CEndEffectorReadFlag =  1;
		EndEffState = CheckBeforRun;
	}
	if(GPIO_Pin == GPIO_PIN_10)
	{
		// Proxi Sensor
		if(Robot.flagSethome == 1)
		{
			homePoint[homeFF] = PositionDeg[0];
			homeFF++;
			if(homeFF == 2)
			{
				if(homePoint[1]-homePoint[0] > 180.0)
				{
					Robot.HomePositon =  0;
				}
				else
				{
					Robot.HomePositon = (homePoint[0]+homePoint[1])/2.0;
				}
				Robot.flagSethome = 2;
			}
		}
//		HAL_GPIO_WritePin(GPIOx, GPIO_Pin, PinState)
		HAL_GPIO_TogglePin(GPIOB, GPIO_PIN_3);
	}
	if(GPIO_Pin == GPIO_PIN_5)
	{
//		HAL_GPIO_WritePin(GPIOx, GPIO_Pin, PinState)
		HAL_GPIO_TogglePin(GPIOB, GPIO_PIN_4);
		btncheck++;
	}
}
void RobotRunToPositon(float Destination)
{
	Robot.GoalPositon = Destination;
	CoefficientAndTimeCalculation(&traject,Robot.Position,Robot.GoalPositon);
	// Start Trajectory Evaluator
	Robot.flagStartTime = 1;
	Robot.RunningFlag = 1;
}

void TIM_ResetCounter(TIM_TypeDef* TIMx)
{
  /* Check the parameters */
  assert_param(IS_TIM_ALL_PERIPH(TIMx));

  /* Reset the Counter Register value */
  TIMx->CNT = 0;
}
/* USER CODE END 4 */

void Error_Handler(void)
{
  __disable_irq();
  while (1)
  {
  }
}
